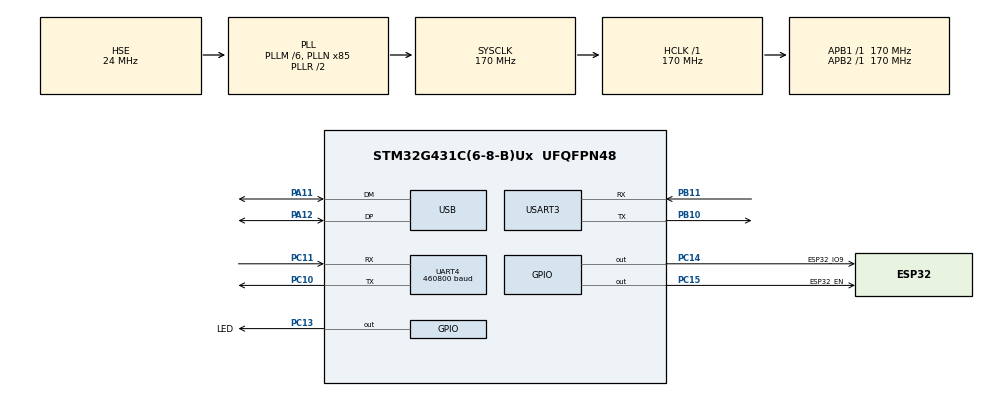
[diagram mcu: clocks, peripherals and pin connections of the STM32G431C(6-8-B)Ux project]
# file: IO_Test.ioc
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Mcu.Family=STM32G4
Mcu.Name=STM32G431C(6-8-B)Ux
Mcu.Package=UFQFPN48
NVIC.PriorityGroup=NVIC_PRIORITYGROUP_4
NVIC.UART4_IRQn=true\:0\:0\:false\:false\:true\:true\:true\:true
NVIC.USART3_IRQn=true\:0\:0\:false\:false\:true\:true\:true\:true
NVIC.USB_LP_IRQn=true\:0\:0\:false\:false\:true\:false\:true\:true
PA11.Mode=Device
PA11.Signal=USB_DM
PA12.Mode=Device
PA12.Signal=USB_DP
PA13.Mode=Serial_Wire
PA13.Signal=SYS_JTMS-SWDIO
PA14.Mode=Serial_Wire
PA14.Signal=SYS_JTCK-SWCLK
PB10.Mode=Asynchronous
PB10.Signal=USART3_TX
PB11.Mode=Asynchronous
PB11.Signal=USART3_RX
PC10.Mode=Asynchronous
PC10.Signal=UART4_TX
PC11.Mode=Asynchronous
PC11.Signal=UART4_RX
PC13.GPIO_Label=LED
PC13.Signal=GPIO_Output
PC14-OSC32_IN.GPIO_Label=ESP32_IO9
PC14-OSC32_IN.Signal=GPIO_Output
PC15-OSC32_OUT.GPIO_Label=ESP32_EN
PC15-OSC32_OUT.Signal=GPIO_Output
PF0-OSC_IN.Mode=HSE-External-Oscillator
PF0-OSC_IN.Signal=RCC_OSC_IN
PF1-OSC_OUT.Mode=HSE-External-Oscillator
PF1-OSC_OUT.Signal=RCC_OSC_OUT
ProjectManager.HeapSize=0x200
ProjectManager.StackSize=0x400
ProjectManager.TargetToolchain=MDK-ARM V5.32
RCC.ADC12Freq_Value=170000000
RCC.AHBFreq_Value=170000000
RCC.APB1Freq_Value=170000000
RCC.APB1TimFreq_Value=170000000
RCC.APB2Freq_Value=170000000
RCC.APB2TimFreq_Value=170000000
RCC.CK48CLockSelection=RCC_USBCLKSOURCE_HSI48
RCC.CortexFreq_Value=170000000
RCC.EXTERNAL_CLOCK_VALUE=12288000
RCC.HCLKFreq_Value=170000000
RCC.HSE_VALUE=24000000
RCC.HSI48_VALUE=48000000
RCC.HSI_VALUE=16000000
RCC.LSE_VALUE=32768
RCC.PLLM=RCC_PLLM_DIV6
RCC.PLLN=85
RCC.PLLQ=RCC_PLLQ_DIV4
RCC.PLLSourceVirtual=RCC_PLLSOURCE_HSE
RCC.SYSCLKFreq_VALUE=170000000
RCC.SYSCLKSource=RCC_SYSCLKSOURCE_PLLCLK
RCC.USBFreq_Value=48000000
RCC.VCOOutputFreq_Value=340000000
UART4.BaudRate=460800
USART3.VirtualMode-Asynchronous=VM_ASYNC
USB_DEVICE.CLASS_NAME_FS=CDC
USB_DEVICE.VirtualMode=Cdc
USB_DEVICE.VirtualModeFS=Cdc_FS
VP_SYS_VS_DBSignals.Mode=DisableDeadBatterySignals
VP_USB_DEVICE_VS_USB_DEVICE_CDC_FS.Mode=CDC_FS
board=custom

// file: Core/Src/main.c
/* USER CODE BEGIN Header */
/**
  ******************************************************************************
  * @file           : main.c
  * @brief          : Main program body
  ******************************************************************************
  * @attention
  *
  * Copyright (c) 2025 STMicroelectronics.
  * All rights reserved.
  *
  * This software is licensed under terms that can be found in the LICENSE file
  * in the root directory of this software component.
  * If no LICENSE file comes with this software, it is provided AS-IS.
  *
  ******************************************************************************
  */
/* USER CODE END Header */
#include "main.h"
#include "usart.h"
#include "usb_device.h"
#include "gpio.h"

/* USER CODE BEGIN Includes */
#include "POM_ESP32_C3.h"
#include "usbd_cdc_if.h"
/* USER CODE END Includes */

/* USER CODE BEGIN PD */
#define BUF_SIZE 1024

/* USER CODE END PD */

/* USER CODE BEGIN PV */
uint8_t uart_rx4_buf1[BUF_SIZE],uart_rx4_buf2[BUF_SIZE];
uint8_t *BUF_addr = uart_rx4_buf1;

volatile uint8_t Mode = 0;
/* USER CODE END PV */

void SystemClock_Config(void);

int main(void)
{

  /* MCU Configuration--------------------------------------------------------*/

  /* Reset of all peripherals, Initializes the Flash interface and the Systick. */
  HAL_Init();

  /* Configure the system clock */
  SystemClock_Config();

  /* Initialize all configured peripherals */
  MX_GPIO_Init();
  MX_UART4_Init();
  MX_USART3_UART_Init();
  MX_USB_Device_Init();
  /* USER CODE BEGIN 2 */
  HAL_UARTEx_ReceiveToIdle_IT(&huart4,BUF_addr,BUF_SIZE);
  Reset_ESP32_C3_To_Run();
  /* USER CODE END 2 */

  /* Infinite loop */
  while (1)
  {

  }
}

void SystemClock_Config(void)
{
  RCC_OscInitTypeDef RCC_OscInitStruct = {0};
  RCC_ClkInitTypeDef RCC_ClkInitStruct = {0};

  /** Configure the main internal regulator output voltage
  */
  HAL_PWREx_ControlVoltageScaling(PWR_REGULATOR_VOLTAGE_SCALE1_BOOST);

  /** Initializes the RCC Oscillators according to the specified parameters
  * in the RCC_OscInitTypeDef structure.
  */
  RCC_OscInitStruct.OscillatorType = RCC_OSCILLATORTYPE_HSI48|RCC_OSCILLATORTYPE_HSE;
  RCC_OscInitStruct.HSEState = RCC_HSE_ON;
  RCC_OscInitStruct.HSI48State = RCC_HSI48_ON;
  RCC_OscInitStruct.PLL.PLLState = RCC_PLL_ON;
  RCC_OscInitStruct.PLL.PLLSource = RCC_PLLSOURCE_HSE;
  RCC_OscInitStruct.PLL.PLLM = RCC_PLLM_DIV6;
  RCC_OscInitStruct.PLL.PLLN = 85;
  RCC_OscInitStruct.PLL.PLLP = RCC_PLLP_DIV2;
  RCC_OscInitStruct.PLL.PLLQ = RCC_PLLQ_DIV4;
  RCC_OscInitStruct.PLL.PLLR = RCC_PLLR_DIV2;
  if (HAL_RCC_OscConfig(&RCC_OscInitStruct) != HAL_OK)
  {
    Error_Handler();
  }

  /** Initializes the CPU, AHB and APB buses clocks
  */
  RCC_ClkInitStruct.ClockType = RCC_CLOCKTYPE_HCLK|RCC_CLOCKTYPE_SYSCLK
                              |RCC_CLOCKTYPE_PCLK1|RCC_CLOCKTYPE_PCLK2;
  RCC_ClkInitStruct.SYSCLKSource = RCC_SYSCLKSOURCE_PLLCLK;
  RCC_ClkInitStruct.AHBCLKDivider = RCC_SYSCLK_DIV1;
  RCC_ClkInitStruct.APB1CLKDivider = RCC_HCLK_DIV1;
  RCC_ClkInitStruct.APB2CLKDivider = RCC_HCLK_DIV1;

  if (HAL_RCC_ClockConfig(&RCC_ClkInitStruct, FLASH_LATENCY_4) != HAL_OK)
  {
    Error_Handler();
  }
}

/* USER CODE BEGIN 4 */
void HAL_UARTEx_RxEventCallback(UART_HandleTypeDef *huart, uint16_t Size)
{
    if(huart->Instance == UART4)
    {
        CDC_Transmit_FS(BUF_addr, Size);
        if(strstr(BUF_addr,"ToggleLED"))
        {
            HAL_GPIO_TogglePin(LED_GPIO_Port,LED_Pin);
        }
        if(BUF_addr == uart_rx4_buf1)
        {
            BUF_addr = uart_rx4_buf2;
        }
        else
        {
            BUF_addr = uart_rx4_buf1;
        }
        HAL_UARTEx_ReceiveToIdle_IT(&huart4,BUF_addr,BUF_SIZE);
    }
}
/* USER CODE END 4 */

void Error_Handler(void)
{
  __disable_irq();
  while (1)
  {
  }
}
